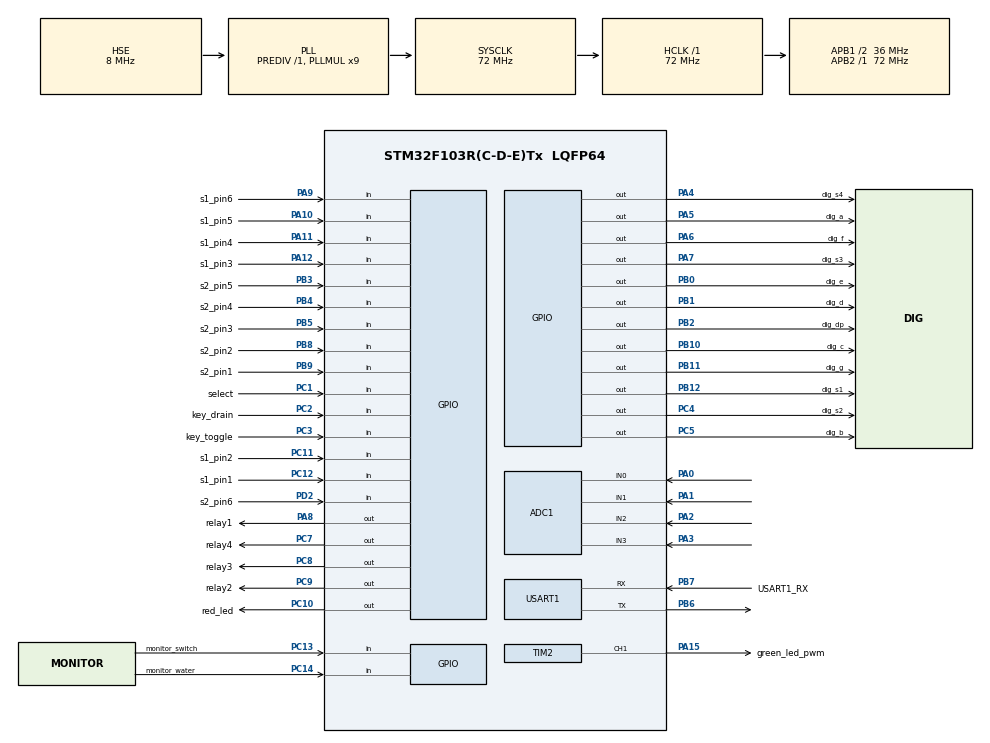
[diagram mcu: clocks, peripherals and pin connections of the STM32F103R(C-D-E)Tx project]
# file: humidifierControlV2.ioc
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ADC1.Channel-0\#ChannelRegularConversion=ADC_CHANNEL_0
ADC1.Channel-1\#ChannelRegularConversion=ADC_CHANNEL_1
ADC1.Channel-2\#ChannelRegularConversion=ADC_CHANNEL_2
ADC1.Channel-3\#ChannelRegularConversion=ADC_CHANNEL_3
ADC1.ContinuousConvMode=ENABLE
ADC1.DataAlign=ADC_DATAALIGN_RIGHT
ADC1.DiscontinuousConvMode=DISABLE
ADC1.EnableAnalogWatchDog=false
ADC1.EnableRegularConversion=ENABLE
ADC1.ExternalTrigConv=ADC_SOFTWARE_START
ADC1.InjNumberOfConversion=0
ADC1.NbrOfConversion=4
ADC1.NbrOfConversionFlag=1
ADC1.Rank-0\#ChannelRegularConversion=1
ADC1.Rank-1\#ChannelRegularConversion=2
ADC1.Rank-2\#ChannelRegularConversion=3
ADC1.Rank-3\#ChannelRegularConversion=4
ADC1.SamplingTime-0\#ChannelRegularConversion=ADC_SAMPLETIME_55CYCLES_5
ADC1.SamplingTime-1\#ChannelRegularConversion=ADC_SAMPLETIME_55CYCLES_5
ADC1.SamplingTime-2\#ChannelRegularConversion=ADC_SAMPLETIME_55CYCLES_5
ADC1.SamplingTime-3\#ChannelRegularConversion=ADC_SAMPLETIME_55CYCLES_5
ADC1.ScanConvMode=ADC_SCAN_ENABLE
ADC1.master=1
Dma.ADC1.0.Direction=DMA_PERIPH_TO_MEMORY
Dma.ADC1.0.Instance=DMA1_Channel1
Dma.ADC1.0.MemDataAlignment=DMA_MDATAALIGN_HALFWORD
Dma.ADC1.0.MemInc=DMA_MINC_ENABLE
Dma.ADC1.0.Mode=DMA_CIRCULAR
Dma.ADC1.0.PeriphDataAlignment=DMA_PDATAALIGN_HALFWORD
Dma.ADC1.0.PeriphInc=DMA_PINC_DISABLE
Dma.ADC1.0.Priority=DMA_PRIORITY_LOW
Dma.Request0=ADC1
FREERTOS.Tasks01=dataProcessing,0,128,StartDataProcessingTask,Default,NULL,Dynamic,NULL,NULL;checkKeyTask,0,128,StartcheckKeyTask,Default,NULL,Dynamic,NULL,NULL;displayTask,-3,128,StartDisplayTask,Default,NULL,Dynamic,NULL,NULL;humiCtrlTask,0,128,StartHumiCtrlTask,Default,NULL,Dynamic,NULL,NULL
FREERTOS.configTOTAL_HEAP_SIZE=4096
Mcu.Family=STM32F1
Mcu.Name=STM32F103R(C-D-E)Tx
Mcu.Package=LQFP64
NVIC.DMA1_Channel1_IRQn=true\:5\:0\:false\:false\:true\:true\:false\:true
NVIC.PriorityGroup=NVIC_PRIORITYGROUP_4
NVIC.TIM3_IRQn=true\:5\:0\:false\:false\:true\:true\:true\:true
NVIC.TIM4_IRQn=true\:0\:0\:false\:false\:true\:false\:false\:true
NVIC.TIM5_IRQn=true\:5\:0\:false\:false\:true\:true\:true\:true
NVIC.TimeBase=TIM4_IRQn
NVIC.TimeBaseIP=TIM4
PA0-WKUP.Signal=ADCx_IN0
PA1.Signal=ADCx_IN1
PA10.GPIO_Label=s1_pin5
PA10.GPIO_PuPd=GPIO_PULLUP
PA10.Signal=GPIO_Input
PA11.GPIO_Label=s1_pin4
PA11.GPIO_PuPd=GPIO_PULLUP
PA11.Signal=GPIO_Input
PA12.GPIO_Label=s1_pin3
PA12.GPIO_PuPd=GPIO_PULLUP
PA12.Signal=GPIO_Input
PA13.Mode=Serial_Wire
PA13.Signal=SYS_JTMS-SWDIO
PA14.Mode=Serial_Wire
PA14.Signal=SYS_JTCK-SWCLK
PA15.GPIO_Label=green_led_pwm
PA15.Signal=S_TIM2_CH1_ETR
PA2.Signal=ADCx_IN2
PA3.Signal=ADCx_IN3
PA4.GPIO_Label=dig_s4
PA4.Signal=GPIO_Output
PA5.GPIO_Label=dig_a
PA5.Signal=GPIO_Output
PA6.GPIO_Label=dig_f
PA6.Signal=GPIO_Output
PA7.GPIO_Label=dig_s3
PA7.Signal=GPIO_Output
PA8.GPIO_Label=relay1
PA8.Signal=GPIO_Output
PA9.GPIO_Label=s1_pin6
PA9.GPIO_PuPd=GPIO_PULLUP
PA9.Signal=GPIO_Input
PB0.GPIO_Label=dig_e
PB0.Signal=GPIO_Output
PB1.GPIO_Label=dig_d
PB1.Signal=GPIO_Output
PB10.GPIO_Label=dig_c
PB10.Signal=GPIO_Output
PB11.GPIO_Label=dig_g
PB11.Signal=GPIO_Output
PB12.GPIO_Label=dig_s1
PB12.Signal=GPIO_Output
PB2.GPIO_Label=dig_dp
PB2.Signal=GPIO_Output
PB3.GPIO_Label=s2_pin5
PB3.GPIO_PuPd=GPIO_PULLUP
PB3.Signal=GPIO_Input
PB4.GPIO_Label=s2_pin4
PB4.GPIO_PuPd=GPIO_PULLUP
PB4.Signal=GPIO_Input
PB5.GPIO_Label=s2_pin3
PB5.GPIO_PuPd=GPIO_PULLUP
PB5.Signal=GPIO_Input
PB6.Mode=Asynchronous
PB6.Signal=USART1_TX
PB7.GPIO_Label=USART1_RX
PB7.Mode=Asynchronous
PB7.Signal=USART1_RX
PB8.GPIO_Label=s2_pin2
PB8.GPIO_PuPd=GPIO_PULLUP
PB8.Signal=GPIO_Input
PB9.GPIO_Label=s2_pin1
PB9.GPIO_PuPd=GPIO_PULLUP
PB9.Signal=GPIO_Input
PC1.GPIO_Label=select
PC1.GPIO_PuPd=GPIO_PULLUP
PC1.Signal=GPIO_Input
PC10.GPIO_Label=red_led
PC10.Signal=GPIO_Output
PC11.GPIO_Label=s1_pin2
PC11.GPIO_PuPd=GPIO_PULLUP
PC11.Signal=GPIO_Input
PC12.GPIO_Label=s1_pin1
PC12.GPIO_PuPd=GPIO_PULLUP
PC12.Signal=GPIO_Input
PC13-TAMPER-RTC.GPIO_Label=monitor_switch
PC13-TAMPER-RTC.Signal=GPIO_Input
PC14-OSC32_IN.GPIO_Label=monitor_water
PC14-OSC32_IN.Signal=GPIO_Input
PC2.GPIO_Label=key_drain
PC2.GPIO_PuPd=GPIO_PULLUP
PC2.Signal=GPIO_Input
PC3.GPIO_Label=key_toggle
PC3.GPIO_PuPd=GPIO_PULLUP
PC3.Signal=GPIO_Input
PC4.GPIO_Label=dig_s2
PC4.Signal=GPIO_Output
PC5.GPIO_Label=dig_b
PC5.Signal=GPIO_Output
PC7.GPIO_Label=relay4
PC7.Signal=GPIO_Output
PC8.GPIO_Label=relay3
PC8.Signal=GPIO_Output
PC9.GPIO_Label=relay2
PC9.Signal=GPIO_Output
PD0-OSC_IN.Mode=HSE-External-Oscillator
PD0-OSC_IN.Signal=RCC_OSC_IN
PD1-OSC_OUT.Mode=HSE-External-Oscillator
PD1-OSC_OUT.Signal=RCC_OSC_OUT
PD2.GPIO_Label=s2_pin6
PD2.GPIO_PuPd=GPIO_PULLUP
PD2.Signal=GPIO_Input
ProjectManager.HeapSize=0x200
ProjectManager.StackSize=0x400
ProjectManager.TargetToolchain=Other Toolchains (GPDSC)
RCC.ADCPresc=RCC_ADCPCLK2_DIV6
RCC.AHBFreq_Value=72000000
RCC.APB1CLKDivider=RCC_HCLK_DIV2
RCC.APB1Freq_Value=36000000
RCC.APB1TimFreq_Value=72000000
RCC.APB2Freq_Value=72000000
RCC.APB2TimFreq_Value=72000000
RCC.HCLKFreq_Value=72000000
RCC.PLLMUL=RCC_PLL_MUL9
RCC.PLLSourceVirtual=RCC_PLLSOURCE_HSE
RCC.SYSCLKFreq_VALUE=72000000
RCC.SYSCLKSource=RCC_SYSCLKSOURCE_PLLCLK
RCC.USBFreq_Value=72000000
SH.ADCx_IN0.0=ADC1_IN0,IN0
SH.ADCx_IN1.0=ADC1_IN1,IN1
SH.ADCx_IN2.0=ADC1_IN2,IN2
SH.ADCx_IN3.0=ADC1_IN3,IN3
SH.S_TIM2_CH1_ETR.0=TIM2_CH1,PWM Generation1 CH1
TIM2.Channel-PWM\ Generation1\ CH1=TIM_CHANNEL_1
TIM2.Period=1000
TIM2.Prescaler=710
TIM3.Period=10000
TIM3.Prescaler=7100
TIM5.Period=1000
TIM5.Prescaler=7100
USART1.VirtualMode=VM_ASYNC
VP_FREERTOS_VS_CMSIS_V1.Mode=CMSIS_V1
VP_IWDG_VS_IWDG.Mode=IWDG_Activate
VP_SYS_VS_tim4.Mode=TIM4
VP_TIM2_VS_ClockSourceINT.Mode=Internal
VP_TIM3_VS_ClockSourceINT.Mode=Internal
VP_TIM5_VS_ClockSourceINT.Mode=Internal
board=humidifierControlV2

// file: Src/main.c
/* USER CODE BEGIN Header */
/**
  ******************************************************************************
  * @file           : main.c
  * @brief          : Main program body
  ******************************************************************************
  * @attention
  *
  * <h2><center>&copy; Copyright (c) 2019 STMicroelectronics.
  * All rights reserved.</center></h2>
  *
  * This software component is licensed by ST under Ultimate Liberty license
  * SLA0044, the "License"; You may not use this file except in compliance with
  * the License. You may obtain a copy of the License at:
  *                             www.st.com/SLA0044
  *
  ******************************************************************************
  */
/* USER CODE END Header */

#include "main.h"
#include "cmsis_os.h"
#include "adc.h"
#include "dma.h"
#include "iwdg.h"
#include "tim.h"
#include "usart.h"
#include "gpio.h"

/* USER CODE BEGIN Includes */
#include "dataProcessing.h"
#include "humiCtrl.h"
#include "ledCtrl.h"
/* USER CODE END Includes */

/* USER CODE BEGIN PV */
/* Private variables ---------------------------------------------------------*/

/* USER CODE END PV */

void SystemClock_Config(void);
void MX_FREERTOS_Init(void);
/* USER CODE BEGIN PFP */
/* Private function prototypes -----------------------------------------------*/

/* USER CODE END PFP */

int main(void)
{

  /* MCU Configuration--------------------------------------------------------*/

  /* Reset of all peripherals, Initializes the Flash interface and the Systick. */
  HAL_Init();

  /* Configure the system clock */
  SystemClock_Config();

  /* Initialize all configured peripherals */
  MX_GPIO_Init();
  MX_DMA_Init();
  MX_USART1_UART_Init();
  MX_ADC1_Init();
  MX_IWDG_Init();
  MX_TIM2_Init();
  MX_TIM3_Init();
  MX_TIM5_Init();
  /* USER CODE BEGIN 2 */

  HAL_ADCEx_Calibration_Start(&hadc1);
  HAL_ADC_Start_DMA(&hadc1, (uint32_t *)ADC_ConvertedValue, 4);
  HAL_TIM_Base_Start_IT(&htim5);
  HAL_TIM_Base_Start_IT(&htim3);
  HAL_TIM_PWM_Start(&htim2, TIM_CHANNEL_1);

  dialSwitchInit();
  humiCtrlInit();
  fristWashBucket();

  /* USER CODE END 2 */

  /* Call init function for freertos objects (in freertos.c) */
  MX_FREERTOS_Init();

  /* Start scheduler */
  osKernelStart();

  /* We should never get here as control is now taken by the scheduler */

  /* Infinite loop */
  while (1)
  {

  }
}

void SystemClock_Config(void)
{
  RCC_OscInitTypeDef RCC_OscInitStruct = {0};
  RCC_ClkInitTypeDef RCC_ClkInitStruct = {0};
  RCC_PeriphCLKInitTypeDef PeriphClkInit = {0};

  /** Initializes the CPU, AHB and APB busses clocks
  */
  RCC_OscInitStruct.OscillatorType = RCC_OSCILLATORTYPE_LSI|RCC_OSCILLATORTYPE_HSE;
  RCC_OscInitStruct.HSEState = RCC_HSE_ON;
  RCC_OscInitStruct.HSEPredivValue = RCC_HSE_PREDIV_DIV1;
  RCC_OscInitStruct.HSIState = RCC_HSI_ON;
  RCC_OscInitStruct.LSIState = RCC_LSI_ON;
  RCC_OscInitStruct.PLL.PLLState = RCC_PLL_ON;
  RCC_OscInitStruct.PLL.PLLSource = RCC_PLLSOURCE_HSE;
  RCC_OscInitStruct.PLL.PLLMUL = RCC_PLL_MUL9;
  if (HAL_RCC_OscConfig(&RCC_OscInitStruct) != HAL_OK)
  {
    Error_Handler();
  }
  /** Initializes the CPU, AHB and APB busses clocks
  */
  RCC_ClkInitStruct.ClockType = RCC_CLOCKTYPE_HCLK|RCC_CLOCKTYPE_SYSCLK
                              |RCC_CLOCKTYPE_PCLK1|RCC_CLOCKTYPE_PCLK2;
  RCC_ClkInitStruct.SYSCLKSource = RCC_SYSCLKSOURCE_PLLCLK;
  RCC_ClkInitStruct.AHBCLKDivider = RCC_SYSCLK_DIV1;
  RCC_ClkInitStruct.APB1CLKDivider = RCC_HCLK_DIV2;
  RCC_ClkInitStruct.APB2CLKDivider = RCC_HCLK_DIV1;

  if (HAL_RCC_ClockConfig(&RCC_ClkInitStruct, FLASH_LATENCY_2) != HAL_OK)
  {
    Error_Handler();
  }
  PeriphClkInit.PeriphClockSelection = RCC_PERIPHCLK_ADC;
  PeriphClkInit.AdcClockSelection = RCC_ADCPCLK2_DIV6;
  if (HAL_RCCEx_PeriphCLKConfig(&PeriphClkInit) != HAL_OK)
  {
    Error_Handler();
  }
}

void HAL_TIM_PeriodElapsedCallback(TIM_HandleTypeDef *htim)
{
  if (htim->Instance == TIM4) {
    HAL_IncTick();
  }
  /* USER CODE BEGIN Callback 1 */
  if (htim->Instance == TIM5)
  {
	  blinkFlag ^= 1;						//指示灯闪烁标志

	  ledBlinkFlagTemp4++;					//指示灯闪烁4个过程
	  if (ledBlinkFlagTemp4 > 3)
	  {
		  ledBlinkFlagTemp4 = 0;
	  }

	  ledBlinkFlagTemp8++;					//指示灯闪烁8个过程
	  if (ledBlinkFlagTemp8 > 7)
	  {
		  ledBlinkFlagTemp8 = 0;
	  }

	  ledBlinkFlagWaterLevel++;
	  if (ledBlinkFlagWaterLevel > 10)
	  {
		  ledBlinkFlagWaterLevel = 0;
	  }
  }
  else if (htim->Instance == TIM3)//tim3 1s中断
  {

	  if (1 == startLowerLimitCountFlag)	//低电流计时
	  {
		  lowerLimitCount++;
	  }

	  if (1 == overCurrentFlag)				//超电流计时
	  {
		  overCurrentCount++;
	  }

	  if (1 == drainWaterFlag)				//排水计时
	  {
		  drainWaterCount++;
	  }

	  if (1 == manualDrainWaterFlag)		//手动排水计时
	  {
		  manualDrainWaterCount++;
	  }

	  if (1 == extraDrainWaterFlag)			//额外排水计时
	  {
		  extraDrainWaterCount++;
	  }

	  if (1 == nonstopWorkFlag)				//连续工作计时
	  {
		  nonstopWorkCount++;
	  }

	  if (1 == inletFlag)					//进水阀开启计时
	  {
		  inletTimeCount++;
		  if (inletTimeCount > 30000)
		  {
			  inletTimeCount = 30000;
		  }
	  }
	  else {
		  inletTimeCount = 0;
	  }

	  if (1 == waterLevelFlag)				//高水位报警计时
	  {
		  waterLevelOnCount++;
		  waterLevelOffCount = 0;
		  if (waterLevelOnCount > 30000)
		  {
			  waterLevelOnCount = 30000;
		  }
	  }
	  else {
		  waterLevelOffCount++;				//水位下降计时
		  waterLevelOnCount = 0;
		  if (waterLevelOffCount > 30000)
		  {
			  waterLevelOffCount = 30000;
		  }
	  }

	  if (0 == needWashBucketFlag)				//当接触器断开开始计数，吸合归零
	  {
		  needWashBucketCount++;
	  }
	  else {
		  needWashBucketCount = 0;
	  }

	  if (1 == startDrainWaterWashBucketFlag)
	  {
		  startDrainWaterWashBucketCount++;
		  if (startDrainWaterWashBucketCount > 30000)
		  {
			  startDrainWaterWashBucketCount = 30000;
		  }
	  }

	  if (1 == stopDrainWaterWashBucketFlag)
	  {
		  stopDrainWaterWashBucketCount++;
		  if (stopDrainWaterWashBucketCount > 30000)
		  {
			  stopDrainWaterWashBucketCount = 30000;
		  }
	  }

  }
  /* USER CODE END Callback 1 */
}

void Error_Handler(void)
{
  while(1)
  {
  }
}

/************************ (C) COPYRIGHT STMicroelectronics *****END OF FILE****/

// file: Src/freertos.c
/* USER CODE BEGIN Header */
/**
  ******************************************************************************
  * File Name          : freertos.c
  * Description        : Code for freertos applications
  ******************************************************************************
  * @attention
  *
  * <h2><center>&copy; Copyright (c) 2019 STMicroelectronics.
  * All rights reserved.</center></h2>
  *
  * This software component is licensed by ST under Ultimate Liberty license
  * SLA0044, the "License"; You may not use this file except in compliance with
  * the License. You may obtain a copy of the License at:
  *                             www.st.com/SLA0044
  *
  ******************************************************************************
  */
/* USER CODE END Header */

#include "FreeRTOS.h"
#include "task.h"
#include "main.h"
#include "cmsis_os.h"

/* USER CODE BEGIN Includes */
#include "iwdg.h"
#include "digitalDisplay.h"
#include "dataProcessing.h"
#include "humiCtrl.h"
#include "tim.h"
#include "ledCtrl.h"
/* USER CODE END Includes */

osThreadId dataProcessingHandle;
osThreadId checkKeyTaskHandle;
osThreadId displayTaskHandle;
osThreadId humiCtrlTaskHandle;

void StartDataProcessingTask(void const * argument);
void StartcheckKeyTask(void const * argument);
void StartDisplayTask(void const * argument);
void StartHumiCtrlTask(void const * argument);

void MX_FREERTOS_Init(void); /* (MISRA C 2004 rule 8.1) */

void MX_FREERTOS_Init(void) {

  /* Create the thread(s) */
  /* definition and creation of dataProcessing */
  osThreadDef(dataProcessing, StartDataProcessingTask, osPriorityNormal, 0, 128);
  dataProcessingHandle = osThreadCreate(osThread(dataProcessing), NULL);

  /* definition and creation of checkKeyTask */
  osThreadDef(checkKeyTask, StartcheckKeyTask, osPriorityNormal, 0, 128);
  checkKeyTaskHandle = osThreadCreate(osThread(checkKeyTask), NULL);

  /* definition and creation of displayTask */
  osThreadDef(displayTask, StartDisplayTask, osPriorityIdle, 0, 128);
  displayTaskHandle = osThreadCreate(osThread(displayTask), NULL);

  /* definition and creation of humiCtrlTask */
  osThreadDef(humiCtrlTask, StartHumiCtrlTask, osPriorityNormal, 0, 128);
  humiCtrlTaskHandle = osThreadCreate(osThread(humiCtrlTask), NULL);

}

void StartDataProcessingTask(void const * argument)
{

  /* USER CODE BEGIN StartDataProcessingTask */
	/* Infinite loop */
	for (;;)
	{
		HAL_IWDG_Refresh(&hiwdg);
		dataProcessing();
		alarmLampHandle();
		osDelay(100);
	}
  /* USER CODE END StartDataProcessingTask */
}

void StartcheckKeyTask(void const * argument)
{
  /* USER CODE BEGIN StartcheckKeyTask */
	/* Infinite loop */
	for (;;)
	{
		keyScan();
		osDelay(1);
	}
  /* USER CODE END StartcheckKeyTask */
}

void StartDisplayTask(void const * argument)
{
  /* USER CODE BEGIN StartDisplayTask */
	/* Infinite loop */
	for (;;)
	{
		osDelay(1);
		switch (displayNum)
		{
		case 0:
			disPlayData(1, humiCurrent);
			break;
		case 1:
			if (humiMode == PROPORTIONMODE)
			{
				disPlayData(2, humiOpening);
			}
			else
			{
				disPlayString(2, "off");
			}

			break;
		case 2:
			disPlayData(3, powerProportion);
			break;
		case 3:
			disPlayData(4, warningCode);
			break;
		case 4:
			disPlayData(5, humiVersion*10+10000);
		default:
			break;
		}
		greenLedBreatheScan();
	}
  /* USER CODE END StartDisplayTask */
}

void StartHumiCtrlTask(void const * argument)
{
  /* USER CODE BEGIN StartHumiCtrlTask */
	/* Infinite loop */
	for (;;)
	{
		humiCtrl();
		osDelay(1000);
	}
  /* USER CODE END StartHumiCtrlTask */
}

/************************ (C) COPYRIGHT STMicroelectronics *****END OF FILE****/
